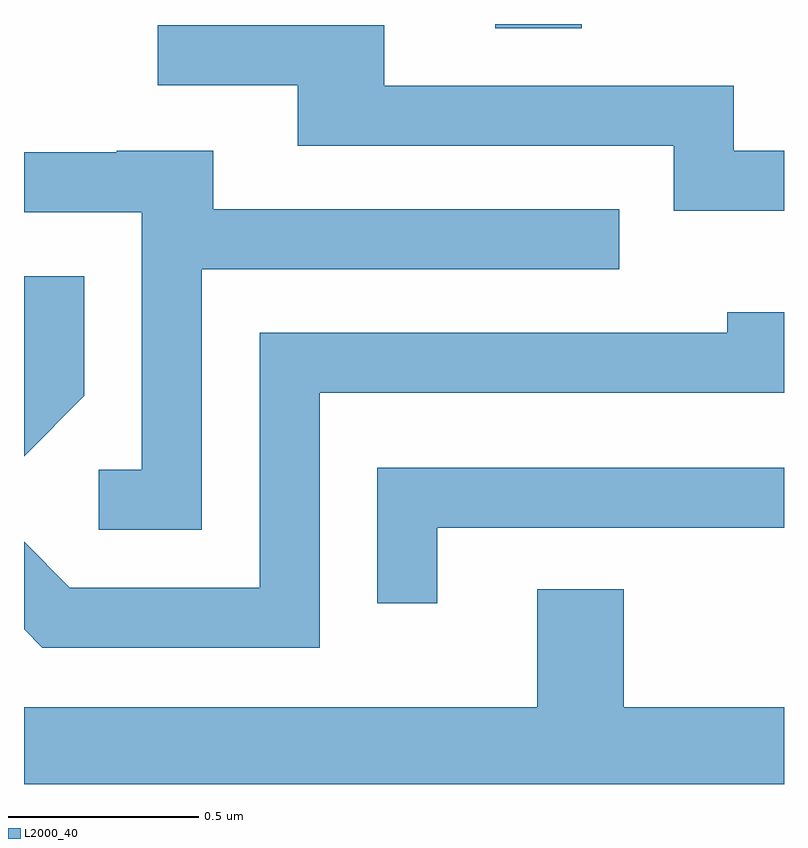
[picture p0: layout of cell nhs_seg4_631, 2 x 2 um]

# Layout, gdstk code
import gdstk
lib = gdstk.Library(unit=1e-6, precision=1e-09)
def R(c, l, rs):  # rectangles x0, y0, x1, y1
    for r in rs: c.add(gdstk.rectangle(r[:2], r[2:], *l))
def P(c, l, *ps):  # polygons
    for p in ps: c.add(gdstk.Polygon(p, *l))
L2000_40 = (2000, 40)

nhs_seg4_631 = lib.new_cell('nhs_seg4_631')
R(nhs_seg4_631, L2000_40, [(190.851,1338.971,191.079,1338.982)])
P(nhs_seg4_631, L2000_40, [(191.611,1338.649),(191.479,1338.649),(191.479,1338.819),(190.559,1338.819),(190.559,1338.979),(189.963,1338.979),(189.963,1338.821),(190.331,1338.821),(190.331,1338.661),(191.321,1338.661),(191.321,1338.491),(191.611,1338.491)],
  [(190.079,1338.336),(191.178,1338.336),(191.178,1338.494),(190.109,1338.494),(190.109,1338.649),(189.855,1338.649),(189.855,1338.644),(189.611,1338.644),(189.611,1338.486),(189.921,1338.486),(189.921,1337.809),(189.808,1337.809),(189.808,1337.651),(190.079,1337.651)],
  [(189.769,1338.004),(189.769,1338.318),(189.611,1338.318),(189.611,1337.845)],
  [(190.389,1338.011),(191.611,1338.011),(191.611,1338.224),(191.461,1338.224),(191.461,1338.169),(190.231,1338.169),(190.231,1337.499),(189.732,1337.499),(189.611,1337.62),(189.611,1337.389),(189.659,1337.341),(190.389,1337.341)],
  [(190.699,1337.656),(191.611,1337.656),(191.611,1337.814),(190.541,1337.814),(190.541,1337.458),(190.699,1337.458)],
  [(191.611,1337.184),(191.189,1337.184),(191.189,1337.494),(190.961,1337.494),(190.961,1337.184),(189.611,1337.184),(189.611,1336.982),(191.611,1336.982)])

lib.write_gds('nhs_seg4_631.gds')
